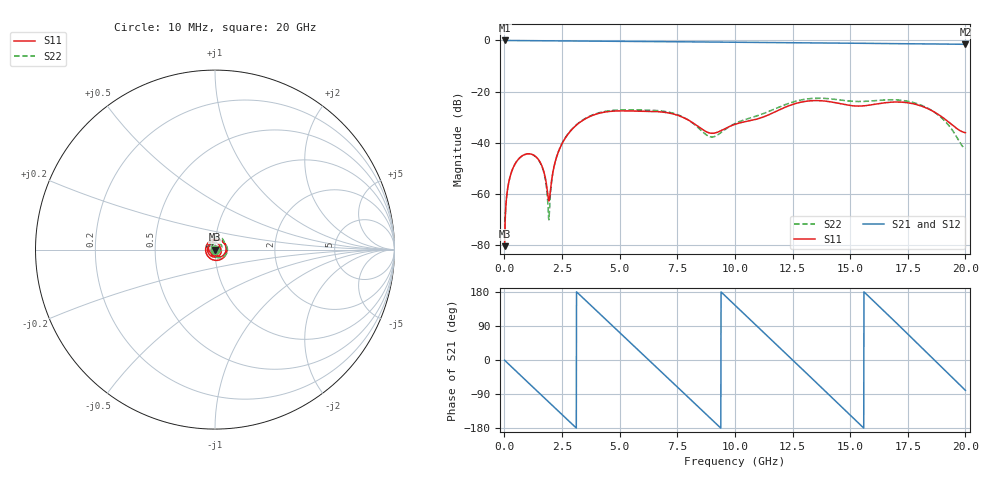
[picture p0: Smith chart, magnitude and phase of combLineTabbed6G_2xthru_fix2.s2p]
# GHz S RI R 50
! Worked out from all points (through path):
!   2000 points, 10 MHz to 20 GHz, reference 50 ohm
!   highest |S21| = 0.00 dB at 20 MHz (marker M1); lowest = -1.5 dB at 20 GHz (marker M2)
!   group delay of S21, straight-line fit = 161 ps
!   lowest |S11| = -80.4 dB at 10 MHz (marker M3), VSWR 1.00, Z = 50 + j0.00949 ohm
!   |S11| at or under -10 dB: start of sweep to end of sweep
!   |S22| runs from -80.4 to -22.6 dB; largest |S21 - S12| = 1.4e-15
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0.01  6.95e-06 9.49e-05  0.9992 -0.0108  0.9992 -0.0108  6.65e-06 9.49e-05
0.02  5.56e-06 0.000185  0.9996 -0.021  0.9996 -0.021  4.39e-06 0.000185
0.19  0.000392 0.00165  0.979 -0.1921  0.979 -0.1921  0.000292 0.00167
0.51  0.00236 0.00343  0.8653 -0.4916  0.8653 -0.4916  0.00178 0.00376
1.63  0.00342 -0.000773  -0.0694 -0.9842  -0.0694 -0.9842  0.0034 0.000518
1.94  0.000436 0.000595  -0.3662 -0.9137  -0.3662 -0.9137  -0.000153 -0.00031
2.38  -0.00108 0.00723  -0.7187 -0.6679  -0.7187 -0.6679  -0.00702 0.00228
3.35  0.0221 0.0147  -0.9495 0.2147  -0.9495 0.2147  -0.013 0.0236
4.88  0.00202 -0.0418  0.1737 0.9466  0.1737 0.9466  0.0175 0.0398
5.85  -0.0414 -0.00284  0.875 0.3883  0.875 0.3883  0.0315 0.0304
6.68  -0.0129 0.0384  0.8704 -0.3847  0.8704 -0.3847  0.0387 0.0173
8.12  0.0253 0.00295  -0.2701 -0.8984  -0.2701 -0.8984  0.0205 -0.0146
9.11  0.0153 -0.00225  -0.8926 -0.2615  -0.8926 -0.2615  -0.0102 -0.00834
10.01  0.0172 -0.0151  -0.7503 0.5372  -0.7503 0.5372  -0.0199 0.0131
11.34  -0.0327 -0.00606  0.3494 0.8427  0.3494 0.8427  -0.0196 0.0335
12.36  0.000219 0.0532  0.894 0.1314  0.894 0.1314  -0.0131 0.0579
13.34  0.066 0.00755  0.5929 -0.6707  0.5929 -0.6707  0.0186 0.0711
14.26  0.018 -0.0592  -0.1835 -0.869  -0.1835 -0.869  0.0449 0.0554
15.26  -0.052 -0.00485  -0.8298 -0.2987  -0.8298 -0.2987  0.053 0.0361
16.67  0.0394 0.0474  -0.401 0.7705  -0.401 0.7705  0.0692 0.00405
18.46  0.0154 -0.0417  0.8379 0.176  0.8379 0.176  0.0103 -0.0438
20  -0.00457 -0.0151  0.1447 -0.8283  0.1447 -0.8283  -0.00481 0.00613
